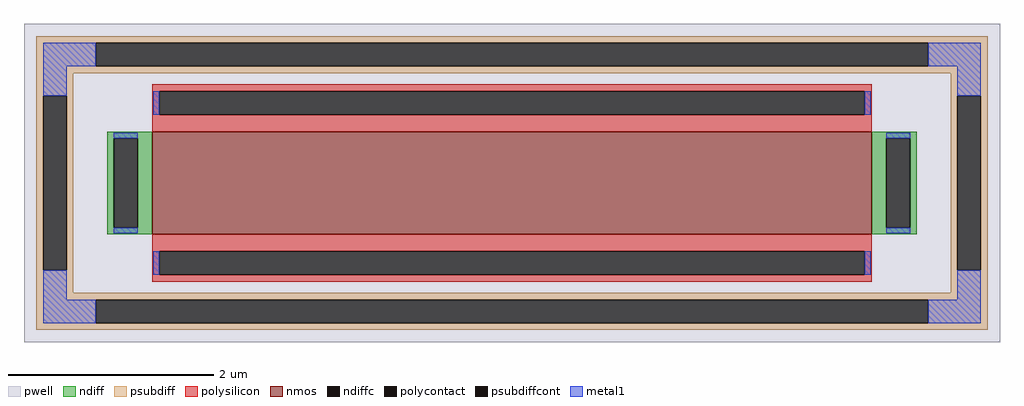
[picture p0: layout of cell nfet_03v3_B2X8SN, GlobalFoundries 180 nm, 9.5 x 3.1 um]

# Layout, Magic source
magic
tech gf180mcuD
magscale 1 10
<< pwell >>
rect -950 -310 950 310
<< nmos >>
rect -700 -100 700 100
<< ndiff >>
rect -788 87 -700 100
rect -788 -87 -775 87
rect -729 -87 -700 87
rect -788 -100 -700 -87
rect 700 87 788 100
rect 700 -87 729 87
rect 775 -87 788 87
rect 700 -100 788 -87
<< ndiffc >>
rect -775 -87 -729 87
rect 729 -87 775 87
<< psubdiff >>
rect -926 273 926 286
rect -926 227 -810 273
rect 810 227 926 273
rect -926 214 926 227
rect -926 170 -854 214
rect -926 -170 -913 170
rect -867 -170 -854 170
rect 854 170 926 214
rect -926 -214 -854 -170
rect 854 -170 867 170
rect 913 -170 926 170
rect 854 -214 926 -170
rect -926 -227 926 -214
rect -926 -273 -810 -227
rect 810 -273 926 -227
rect -926 -286 926 -273
<< psubdiffcont >>
rect -810 227 810 273
rect -913 -170 -867 170
rect 867 -170 913 170
rect -810 -273 810 -227
<< polysilicon >>
rect -700 179 700 192
rect -700 133 -687 179
rect 687 133 700 179
rect -700 100 700 133
rect -700 -133 700 -100
rect -700 -179 -687 -133
rect 687 -179 700 -133
rect -700 -192 700 -179
<< polycontact >>
rect -687 133 687 179
rect -687 -179 687 -133
<< metal1 >>
rect -913 227 -810 273
rect 810 227 913 273
rect -913 170 -867 227
rect -698 133 -687 179
rect 687 133 698 179
rect 867 170 913 227
rect -775 87 -729 98
rect -775 -98 -729 -87
rect 729 87 775 98
rect 729 -98 775 -87
rect -913 -227 -867 -170
rect -698 -179 -687 -133
rect 687 -179 698 -133
rect 867 -227 913 -170
rect -913 -273 -810 -227
rect 810 -273 913 -227
<< properties >>
string FIXED_BBOX -890 -250 890 250
string gencell nfet_03v3
string library gf180mcu
string parameters w 1 l 7 m 1 nf 1 diffcov 100 polycov 100 guard 1 glc 1 grc 1 gtc 1 gbc 1 tbcov 100 rlcov 100 topc 1 botc 1 poverlap 0 doverlap 1 lmin 0.28 wmin 0.22 class mosfet full_metal 1 compatible {nfet_03v3 nfet_05v0 nfet_06v0 nfet_06v0_nvt}
<< end >>
